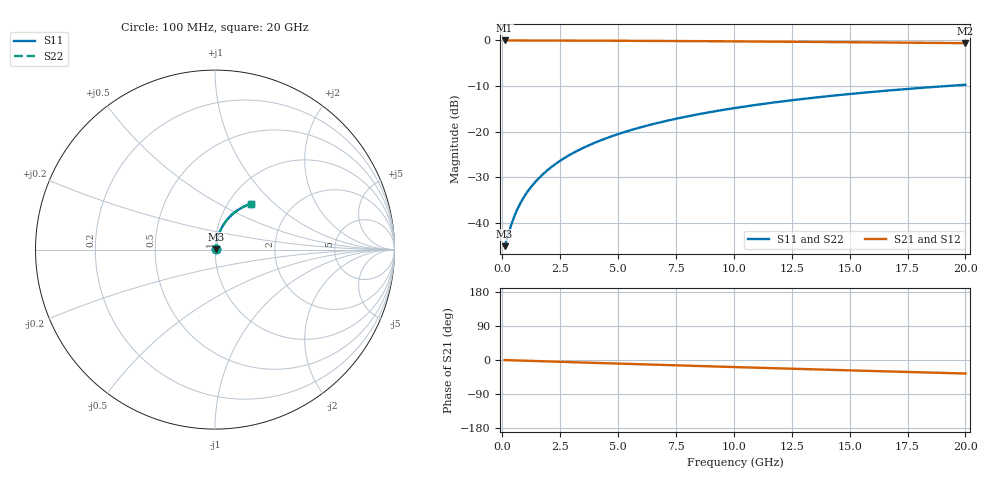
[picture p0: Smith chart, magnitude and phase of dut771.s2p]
! Touchstone file exported from HFSS 2026.1.0
!  File:  C:/ffzhzh/LocalFiles/Ansys_Project_Files/temp_train_BSMRDL_771_1783169209_51560.aedt
!  Generated:  08:48:00 PM Jul  4, 2026
!  Design:  BSMRDL
!  Project:  temp_train_BSMRDL_771_1783169209_51560
! Variables:
!  h_bsmrdl = 3.33um
!  h_ox = 20um
!  h_rdl = 5um
!  h_sub = 80um
!  h_tmrdl = 5um
!  h_tsv = 80um
!  h_via = 3um
!  l_bsmrdl = 538.78um
!  l_sub = 938.78um
!  l_tmrdl = 200um
!  m_sub = 200um
!  pitch = 26.44um
!  r_tsv = 6um
!  s_tmrdl = 10um
!  w_bsmrdl = 11.09um
!  w_sub = 500um
!  w_tmrdl = 12um
!  x_tsv_center1 = 206um
!  x_tsv_center2 = 755.87um
!  x_tsv_center3 = 967.87um
!  x_tsv_center4 = 1517.74um
!  x_tsv_center5 = 1729.74um
!  x_tsv_center6 = 2279.61um
# GHz S MA R 50.000000
! Terminal data exported
! Port[1] = BSM_RDL1_1_T1
! Port[2] = BSM_RDL1_1_T2
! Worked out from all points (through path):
!   200 points, 100 MHz to 20 GHz, reference 50 ohm
!   highest |S21| = -0.05 dB at 100 MHz (marker M1); lowest = -0.6 dB at 20 GHz (marker M2)
!   group delay of S21, straight-line fit = 4.96 ps
!   lowest |S11| = -45.0 dB at 100 MHz (marker M3), VSWR 1.01, Z = 50.5 + j0.208 ohm
!   |S11| at or under -10 dB: start of sweep to 19.21 GHz
!   |S22| runs from -45.0 to -9.7 dB; largest |S21 - S12| = 2.7e-15
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0.1  0.005616 21.5  0.9948 -0.2  0.9948 -0.2  0.005616 21.5
! Gamma 0 0 0 0
! Port Impedance 50 0 50 0
0.4  0.009835 55.1  0.9944 -0.8  0.9944 -0.8  0.009835 55.1
0.5  0.01156 59.8  0.9943 -1.0  0.9943 -1.0  0.01156 59.8
0.6  0.01332 63.3  0.9942 -1.2  0.9942 -1.2  0.01332 63.3
0.7  0.01509 65.8  0.9941 -1.4  0.9941 -1.4  0.01509 65.8
0.9  0.01869 69.5  0.9938 -1.7  0.9938 -1.7  0.01869 69.5
1.1  0.02231 71.9  0.9936 -2.1  0.9936 -2.1  0.02231 71.9
1.3  0.02597 73.6  0.9934 -2.5  0.9934 -2.5  0.02597 73.6
1.7  0.03334 75.6  0.9931 -3.3  0.9931 -3.3  0.03334 75.6
2.2  0.04261 76.9  0.9925 -4.2  0.9925 -4.2  0.04261 76.9
2.8  0.05376 77.3  0.9917 -5.3  0.9917 -5.3  0.05376 77.3
3.5  0.06673 77.1  0.9906 -6.7  0.9906 -6.7  0.06673 77.1
4.2  0.07963 76.6  0.9893 -8.0  0.9893 -8.0  0.07963 76.6
5  0.09424 75.6  0.9876 -9.5  0.9876 -9.5  0.09423 75.6
5.9  0.1105 74.4  0.9853 -11.2  0.9853 -11.2  0.1105 74.4
6.8  0.1264 73.0  0.9828 -12.8  0.9828 -12.8  0.1264 73.0
8.3  0.1524 70.6  0.9782 -15.6  0.9782 -15.6  0.1524 70.6
10.1  0.1826 67.6  0.9719 -18.8  0.9719 -18.8  0.1826 67.6
11.7  0.2084 65.0  0.9658 -21.6  0.9658 -21.6  0.2084 65.0
13.4  0.2347 62.2  0.9589 -24.6  0.9589 -24.6  0.2347 62.2
16.7  0.2827 56.8  0.9446 -30.2  0.9446 -30.2  0.2827 56.8
20  0.3264 51.6  0.9296 -35.7  0.9296 -35.7  0.3263 51.6
